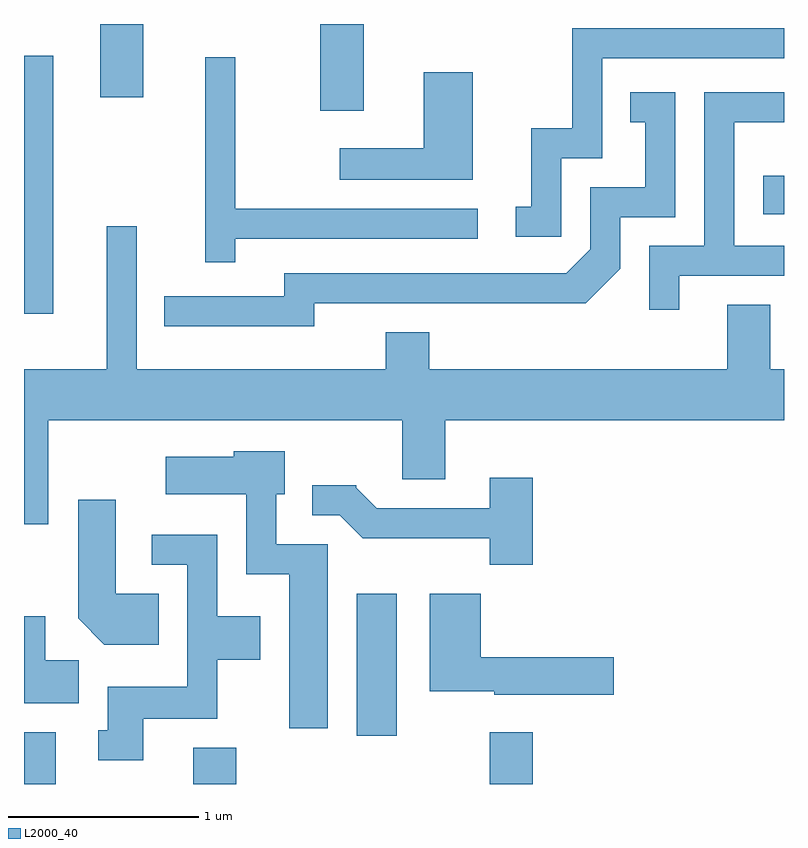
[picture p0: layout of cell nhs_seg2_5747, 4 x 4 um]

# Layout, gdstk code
import gdstk
lib = gdstk.Library(unit=1e-6, precision=1e-09)
def R(c, l, rs):  # rectangles x0, y0, x1, y1
    for r in rs: c.add(gdstk.rectangle(r[:2], r[2:], *l))
def P(c, l, *ps):  # polygons
    for p in ps: c.add(gdstk.Polygon(p, *l))
L2000_40 = (2000, 40)

nhs_seg2_5747 = lib.new_cell('nhs_seg2_5747')
R(nhs_seg2_5747, L2000_40, [(355.611,979.802,355.779,980.074), (356.501,979.802,356.729,979.994), (358.061,979.802,358.289,980.074), (357.361,980.056,357.574,980.804), (355.611,982.276,355.764,983.634), (359.501,982.801,359.611,983.004), (357.171,983.346,357.399,983.802), (356.011,983.416,356.239,983.802)])
P(nhs_seg2_5747, L2000_40, [(358.439,983.096),(358.654,983.096),(358.654,983.621),(359.611,983.621),(359.611,983.779),(358.496,983.779),(358.496,983.254),(358.281,983.254),(358.281,982.839),(358.198,982.839),(358.198,982.681),(358.439,982.681)],
  [(356.724,982.671),(357.998,982.671),(357.998,982.829),(356.724,982.829),(356.724,983.628),(356.566,983.628),(356.566,982.548),(356.724,982.548)],
  [(357.974,983.549),(357.716,983.549),(357.716,983.149),(357.273,983.149),(357.273,982.981),(357.974,982.981)],
  [(357.139,982.331),(358.567,982.331),(358.749,982.514),(358.749,982.786),(359.039,982.786),(359.039,983.444),(358.803,983.444),(358.803,983.286),(358.881,983.286),(358.881,982.944),(358.591,982.944),(358.591,982.617),(358.464,982.489),(356.981,982.489),(356.981,982.369),(356.348,982.369),(356.348,982.211),(357.139,982.211)],
  [(359.059,982.476),(359.611,982.476),(359.611,982.634),(359.349,982.634),(359.349,983.286),(359.611,983.286),(359.611,983.444),(359.191,983.444),(359.191,982.634),(358.901,982.634),(358.901,982.298),(359.059,982.298)],
  [(355.739,981.716),(357.601,981.716),(357.601,981.406),(357.829,981.406),(357.829,981.716),(359.611,981.716),(359.611,981.984),(359.539,981.984),(359.539,982.324),(359.311,982.324),(359.311,981.984),(357.744,981.984),(357.744,982.179),(357.516,982.179),(357.516,981.984),(356.204,981.984),(356.204,982.738),(356.046,982.738),(356.046,981.984),(355.611,981.984),(355.611,981.168),(355.739,981.168)],
  [(357.209,981.064),(356.939,981.064),(356.939,981.326),(356.984,981.326),(356.984,981.554),(356.716,981.554),(356.716,981.524),(356.356,981.524),(356.356,981.326),(356.781,981.326),(356.781,980.906),(357.006,980.906),(357.006,980.096),(357.209,980.096)],
  [(358.289,981.414),(358.061,981.414),(358.061,981.254),(357.467,981.254),(357.36,981.361),(357.36,981.374),(357.128,981.374),(357.128,981.216),(357.274,981.216),(357.394,981.096),(358.061,981.096),(358.061,980.956),(358.289,980.956)],
  [(356.319,980.804),(356.094,980.804),(356.094,981.299),(355.896,981.299),(355.896,980.674),(356.034,980.536),(356.319,980.536)],
  [(356.239,980.146),(356.629,980.146),(356.629,980.456),(356.854,980.456),(356.854,980.684),(356.629,980.684),(356.629,981.114),(356.283,981.114),(356.283,980.956),(356.471,980.956),(356.471,980.314),(356.051,980.314),(356.051,980.084),(356.003,980.084),(356.003,979.926),(356.239,979.926)],
  [(358.714,980.469),(358.014,980.469),(358.014,980.804),(357.746,980.804),(357.746,980.291),(358.086,980.291),(358.086,980.271),(358.714,980.271)],
  [(355.899,980.454),(355.724,980.454),(355.724,980.684),(355.611,980.684),(355.611,980.226),(355.899,980.226)])

lib.write_gds('nhs_seg2_5747.gds')
